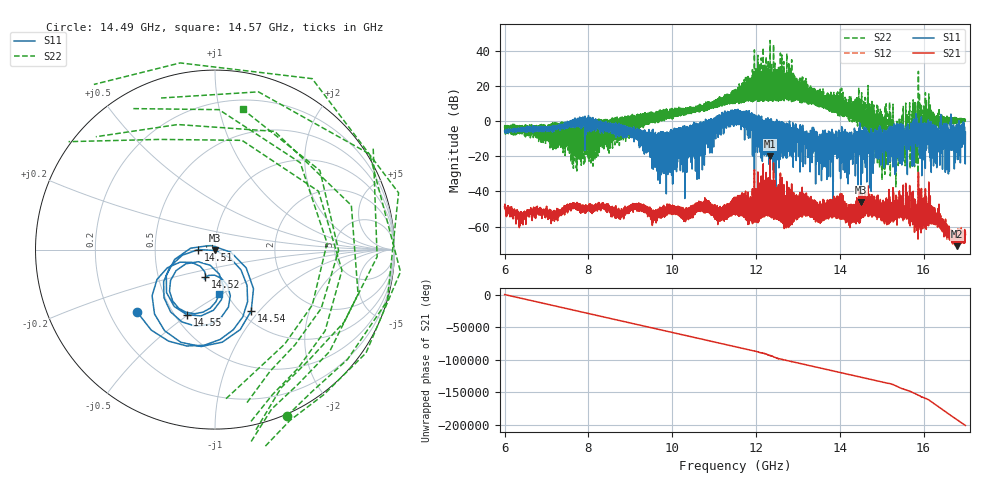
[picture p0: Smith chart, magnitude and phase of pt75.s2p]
#  HZ  S  RI  R  50.00
! Rohde & Schwarz Vector Network Analyzer
! Rohde-Schwarz,ZNA67-2Port,1332450062101215,3.01
! Created: UTC 10/16/2026, 2:27:41 PM
! freq[Hz]  re:S11  im:S11  re:S21  im:S21  re:S12  im:S12  re:S22  im:S22
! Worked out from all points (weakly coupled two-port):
!   11001 points, 6 GHz to 17 GHz, reference 50 ohm
!   highest |S21| = -20.10 dB at 12.34 GHz (marker M1); lowest = -71.2 dB at 16.8 GHz (marker M2)
!   lowest |S11| = -46.1 dB at 14.5 GHz (marker M3), VSWR 1.01, Z = 50 - j0.497 ohm
!   |S11| at or under -10 dB: 13.52805 GHz to 13.56832 GHz (40.26 MHz wide, 0.297 % of centre); 13.61181 GHz to 13.64771 GHz (35.9 MHz wide, 0.263 % of centre); 13.93449 GHz to 13.96265 GHz (28.17 MHz wide, 0.202 % of centre) (the widest 3 of 482)
!   |S22| runs from -37.4 to 46.0 dB; largest |S21 - S12| = 0.0027
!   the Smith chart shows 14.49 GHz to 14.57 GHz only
!   S11 on the Smith chart (normalised r, x): 14.49 GHz: 0.32, -0.32; 14.51 GHz: 0.83, +0.00; 14.52 GHz: 0.86, -0.27; 14.54 GHz: 1.12, -0.91; 14.55 GHz: 0.57, -0.49; 14.57 GHz: 0.93, -0.49
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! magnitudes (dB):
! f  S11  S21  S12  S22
! 6 GHz  -5.7  -48.6  -48.6  -3.7
! 6.391 GHz  -3.7  -54.4  -54.2  -5.1
! 7.834 GHz  -1.0  -48.0  -47.8  -0.3
! 9.667 GHz  -7.0  -51.0  -51.3  5.5
! 11.5 GHz  6.5  -50.5  -50.4  12.1
! 12.34 GHz  -10.0  -20.1  -20.1  46.0
! 12.74 GHz  -5.7  -55.2  -55.1  15.3
! 13.33 GHz  -9.7  -51.0  -50.8  12.4
! 14.49 GHz  -5.1  -54.3  -54.6  0.1
! 14.5 GHz  -46.1  -53.2  -53.6  -0.5
! 14.51 GHz  -20.6  -55.4  -55.0  -1.1
! 14.52 GHz  -15.7  -51.8  -51.4  1.7
! 14.54 GHz  -8.0  -51.3  -51.2  -1.6
! 14.55 GHz  -8.1  -46.6  -46.8  7.2
! 14.57 GHz  -12.1  -48.6  -48.5  -2.0
! 15.05 GHz  -6.0  -55.3  -55.4  -7.5
! 15.17 GHz  -14.1  -48.3  -47.7  0.0
! 15.62 GHz  -4.2  -54.5  -54.7  -5.5
! 15.8 GHz  -3.5  -57.5  -57.5  -2.2
! 16.18 GHz  -1.3  -58.3  -58.1  -3.0
! 16.8 GHz  -4.0  -71.2  -70.9  -0.9
! 17 GHz  -6.2  -64.6  -64.6  0.7
